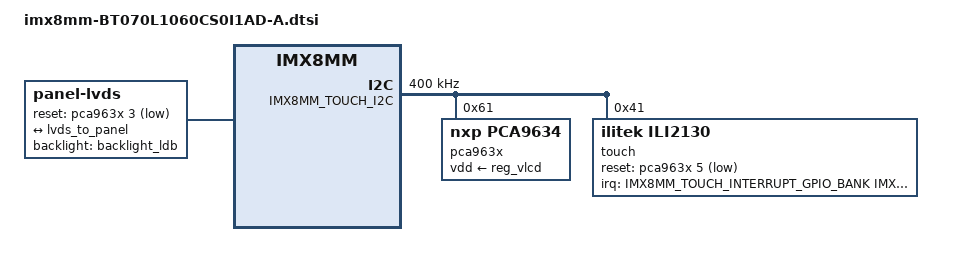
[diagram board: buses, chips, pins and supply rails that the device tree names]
/*
* Copyright (C) 2025 F&S Elektronik Systeme GmbH
*
* This program is free software; you can redistribute it and/or modify
* it under the terms of the GNU General Public License version 2 as
* published by the Free Software Foundation.
*/

/{
        panel: panel {
                compatible = "panel-lvds";
                backlight = <&backlight_ldb>;
                reset-gpios = <&pca963x 3 GPIO_ACTIVE_LOW>;
                data-mapping = "vesa-24";
                width-mm = <155>;
                height-mm = <86>;

                panel-timing {
                                clock-frequency = <63000000>;
                                hactive = <1024>;
                                vactive = <600>;
                                hback-porch = <160>;
                                hfront-porch = <76>;
                                hsync-len = <140>;
                                vback-porch = <23>;
                                vfront-porch = <107>;
                                vsync-len = <20>;
                                pixelclk-active = <0>;
                                de-active = <1>;
                };

                port@0 {
                        panel_from_lvds: endpoint {
                                remote-endpoint = <&lvds_to_panel>;
                        };
                };
        };

        backlight_ldb: backlight_ldb {
                pwms = <&pca963x 1 5263157 1>;
                brightness-levels = <0 1 5 10 18 28 41 56
                                     73 92 113 137 163 192 222 255>;
                default-brightness-level = <14>;
        };
};

&reg_ldb_bl{
	gpio = <&pca963x 0 GPIO_ACTIVE_HIGH>;
};

&IMX8MM_TOUCH_I2C {
	clock-frequency = <400000>;
	pca963x: pca9634@61 {
                        compatible = "nxp,pca9634";
                        reg = <0x61>;
						vdd-supply = <&reg_vlcd>;
                        #address-cells = <1>;
                        #size-cells = <0>;
                        #pwm-cells = <3>;
                        #gpio-cells = <2>;
                        led@0 {
                                reg = <0>;
                                label = "BL_ON";
                                type = "GPIO";
                                default-on;             /* or: keep-value */
                                active-high;
                        };
                        led@1 {
                                reg = <1>;
                                label = "BL_PWM";
                                type = "PWM";
                                default-on;             /* or: keep-value */
                                active-low;
                        };
                        led@2 {
                                reg = <2>;
                                label = "2-unused";
                                type = "LED";
                                active-low;
                        };
                        led@3 {
                                reg = <3>;
                                label = "MIPI_RST";
                                type = "GPIO";
                                active-low;
                                default-on;             /* or: keep-value */
                        };
                        led@4 {
                                reg = <4>;
                                label = "4-unused";
                                type = "LED";
                                active-low;
                        };
                        led@5 {
                                reg = <5>;
                                label = "I2C_RST";
                                type = "GPIO";
                                active-high;
                                default-on;             /* or: keep-value */
                        };
                        led@6 {
                                reg = <6>;
                                label = "6-unused";
                                type = "LED";
                                active-low;
                        };
                        led@7 {
                                reg = <7>;
                                label = "7-doNotUse";
                                type = "LED";
                                active-low;
                        };
                };

        /* Ilitek PCAP touch on Touch-Connector (I2C) */
        touch: ilitek2130@41 {
                compatible = "ilitek,ili2130";
                reg = <0x41>;
                interrupt-parent = <&IMX8MM_TOUCH_INTERRUPT_GPIO_BANK>;
                interrupts = <IMX8MM_TOUCH_INTERRUPT_GPIO_NUM IRQ_TYPE_EDGE_FALLING>;
                reset-gpios = <&pca963x 5 GPIO_ACTIVE_LOW>;
        };
};
